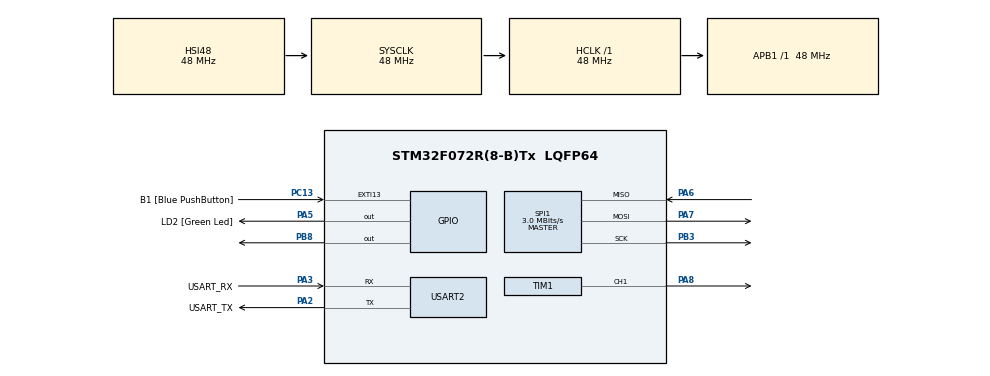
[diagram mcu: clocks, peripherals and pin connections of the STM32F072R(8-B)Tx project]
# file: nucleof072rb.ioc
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Mcu.Family=STM32F0
Mcu.Name=STM32F072R(8-B)Tx
Mcu.Package=LQFP64
PA13.GPIO_Label=TMS
PA13.Mode=Serial_Wire
PA13.Signal=SYS_SWDIO
PA14.GPIO_Label=TCK
PA14.Mode=Serial_Wire
PA14.Signal=SYS_SWCLK
PA2.GPIO_Label=USART_TX
PA2.GPIO_Mode=GPIO_MODE_AF_PP
PA2.GPIO_PuPd=GPIO_NOPULL
PA2.GPIO_Speed=GPIO_SPEED_FREQ_LOW
PA2.Mode=Asynchronous
PA2.Signal=USART2_TX
PA3.GPIO_Label=USART_RX
PA3.GPIO_Mode=GPIO_MODE_AF_PP
PA3.GPIO_PuPd=GPIO_NOPULL
PA3.GPIO_Speed=GPIO_SPEED_FREQ_LOW
PA3.Mode=Asynchronous
PA3.Signal=USART2_RX
PA5.GPIO_Label=LD2 [Green Led]
PA5.GPIO_Mode=GPIO_MODE_OUTPUT_PP
PA5.GPIO_PuPd=GPIO_NOPULL
PA5.GPIO_Speed=GPIO_SPEED_FREQ_LOW
PA5.Signal=GPIO_Output
PA6.Mode=Full_Duplex_Master
PA6.Signal=SPI1_MISO
PA7.Mode=Full_Duplex_Master
PA7.Signal=SPI1_MOSI
PA8.Signal=S_TIM1_CH1
PB3.Mode=Full_Duplex_Master
PB3.Signal=SPI1_SCK
PB8.Signal=GPIO_Output
PC13.GPIO_Label=B1 [Blue PushButton]
PC13.GPIO_ModeDefaultEXTI=GPIO_MODE_IT_FALLING
PC13.Signal=GPXTI13
PC14-OSC32_IN.Mode=LSE-External-Oscillator
PC14-OSC32_IN.Signal=RCC_OSC32_IN
PC15-OSC32_OUT.Mode=LSE-External-Oscillator
PC15-OSC32_OUT.Signal=RCC_OSC32_OUT
PF0-OSC_IN.Mode=HSE-External-Clock-Source
PF0-OSC_IN.Signal=RCC_OSC_IN
PF1-OSC_OUT.Signal=RCC_OSC_OUT
ProjectManager.HeapSize=0x200
ProjectManager.StackSize=0x400
ProjectManager.TargetToolchain=STM32CubeIDE
RCC.AHBFreq_Value=48000000
RCC.APB1Freq_Value=48000000
RCC.APB1TimFreq_Value=48000000
RCC.FLatency-AdvancedSettings=FLASH_LATENCY_1
RCC.HCLKFreq_Value=48000000
RCC.PLLDivider=RCC_PREDIV_DIV2
RCC.PLLMUL=RCC_PLL_MUL12
RCC.PREFETCH_ENABLE-AdvancedSettings=1
RCC.SYSCLKFreq_VALUE=48000000
RCC.SYSCLKSource=RCC_SYSCLKSOURCE_HSI48
SH.S_TIM1_CH1.0=TIM1_CH1,PWM Generation1 CH1
SPI1.BaudRatePrescaler=SPI_BAUDRATEPRESCALER_16
SPI1.CLKPolarity=SPI_POLARITY_LOW
SPI1.CalculateBaudRate=3.0 MBits/s
SPI1.DataSize=SPI_DATASIZE_8BIT
SPI1.Direction=SPI_DIRECTION_2LINES
SPI1.Mode=SPI_MODE_MASTER
SPI1.VirtualType=VM_MASTER
TIM1.Channel-PWM\ Generation1\ CH1=TIM_CHANNEL_1
TIM1.Period=63999
TIM1.Prescaler=14
USART2.VirtualMode=VM_ASYNC
USART2.VirtualMode-Asynchronous=VM_ASYNC
VP_TIM1_VS_ClockSourceINT.Mode=Internal
board=NUCLEO-F072RB

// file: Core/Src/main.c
/* USER CODE BEGIN Header */
/**
  ******************************************************************************
  * @file           : main.c
  * @brief          : Main program body
  ******************************************************************************
  * @attention
  *
  * <h2><center>&copy; Copyright (c) 2021 STMicroelectronics.
  * All rights reserved.</center></h2>
  *
  * This software component is licensed by ST under BSD 3-Clause license,
  * the "License"; You may not use this file except in compliance with the
  * License. You may obtain a copy of the License at:
  *                        opensource.org/licenses/BSD-3-Clause
  *
  ******************************************************************************
  */
/* USER CODE END Header */
#include "main.h"
#include "spi.h"
#include "tim.h"
#include "usart.h"
#include "gpio.h"

/* USER CODE BEGIN PTD */
#define ADC_BYTE_SIZE 3
#define ADC_START_BIT 0x01
#define ADC_CH0 0x80
#define ADC_DUMMY_BIT 0x00
#define MIN_DUTY_CYCLE 3200

/* USER CODE END PTD */

/* USER CODE BEGIN PV */
//SPI_HandleTypeDef hspi1;
//TIM_HandleTypeDef htim1;
/* USER CODE END PV */

void SystemClock_Config(void);
/* USER CODE BEGIN PFP */
uint16_t RR_ADC(void);
/* USER CODE END PFP */

int main(void)
{

  /* MCU Configuration--------------------------------------------------------*/

  /* Reset of all peripherals, Initializes the Flash interface and the Systick. */
  HAL_Init();

  /* USER CODE BEGIN Init */
  /* duty cycle = how long signal stays HIGH
   * compare register = de
   * */
  uint16_t value, dutyCycle;
  /* USER CODE END Init */

  /* Configure the system clock */
  SystemClock_Config();

  /* Initialize all configured peripherals */
  MX_GPIO_Init();
  MX_USART2_UART_Init();
  MX_SPI1_Init();
  MX_TIM1_Init();
  /* USER CODE BEGIN 2 */
  // Start timer
  HAL_TIM_PWM_Start(&htim1, TIM_CHANNEL_1);
  /* USER CODE END 2 */

  /* Infinite loop */
  /* USER CODE BEGIN WHILE */
  while (1)
  {
	  value = RR_ADC();

	  // 5% to 10% duty cycle (5% * 63999, etc.), 1023 = 10 bit
	  dutyCycle = ((value * MIN_DUTY_CYCLE) / 1023) + MIN_DUTY_CYCLE;
	  __HAL_TIM_SET_COMPARE(&htim1, TIM_CHANNEL_1, dutyCycle);

	  HAL_Delay(10);
    /* USER CODE END WHILE */

  }
}

void SystemClock_Config(void)
{
  RCC_OscInitTypeDef RCC_OscInitStruct = {0};
  RCC_ClkInitTypeDef RCC_ClkInitStruct = {0};
  RCC_PeriphCLKInitTypeDef PeriphClkInit = {0};

  /** Initializes the RCC Oscillators according to the specified parameters
  * in the RCC_OscInitTypeDef structure.
  */
  RCC_OscInitStruct.OscillatorType = RCC_OSCILLATORTYPE_HSI48;
  RCC_OscInitStruct.HSI48State = RCC_HSI48_ON;
  RCC_OscInitStruct.PLL.PLLState = RCC_PLL_NONE;
  if (HAL_RCC_OscConfig(&RCC_OscInitStruct) != HAL_OK)
  {
    Error_Handler();
  }

  /** Initializes the CPU, AHB and APB buses clocks
  */
  RCC_ClkInitStruct.ClockType = RCC_CLOCKTYPE_HCLK|RCC_CLOCKTYPE_SYSCLK
                              |RCC_CLOCKTYPE_PCLK1;
  RCC_ClkInitStruct.SYSCLKSource = RCC_SYSCLKSOURCE_HSI48;
  RCC_ClkInitStruct.AHBCLKDivider = RCC_SYSCLK_DIV1;
  RCC_ClkInitStruct.APB1CLKDivider = RCC_HCLK_DIV1;

  if (HAL_RCC_ClockConfig(&RCC_ClkInitStruct, FLASH_LATENCY_1) != HAL_OK)
  {
    Error_Handler();
  }
  PeriphClkInit.PeriphClockSelection = RCC_PERIPHCLK_USART2;
  PeriphClkInit.Usart2ClockSelection = RCC_USART2CLKSOURCE_PCLK1;
  if (HAL_RCCEx_PeriphCLKConfig(&PeriphClkInit) != HAL_OK)
  {
    Error_Handler();
  }
}

/* USER CODE BEGIN 4 */
// Read and receiving ADC signal
uint16_t RR_ADC(){
	// Start bit, config (1000 -> CH0), empty
	uint8_t data[ADC_BYTE_SIZE] = {ADC_START_BIT, ADC_CH0, ADC_DUMMY_BIT};

	// 10 bits are sent back (3 bytes)
	uint8_t received[ADC_BYTE_SIZE];

	// Pull CS to low, then send/receive data, then CS to high
	HAL_GPIO_WritePin(GPIOB, GPIO_PIN_8, GPIO_PIN_RESET);
	HAL_SPI_TransmitReceive(&hspi1, data, received, ADC_BYTE_SIZE, HAL_MAX_DELAY);
	HAL_GPIO_WritePin(GPIOB, GPIO_PIN_8, GPIO_PIN_SET);

	// Combine received into 10 bit output
	return ((received[1] & 0x03) << 8) | received[2];
}
/* USER CODE END 4 */

void Error_Handler(void)
{
  __disable_irq();
  while (1)
  {
  }
}
